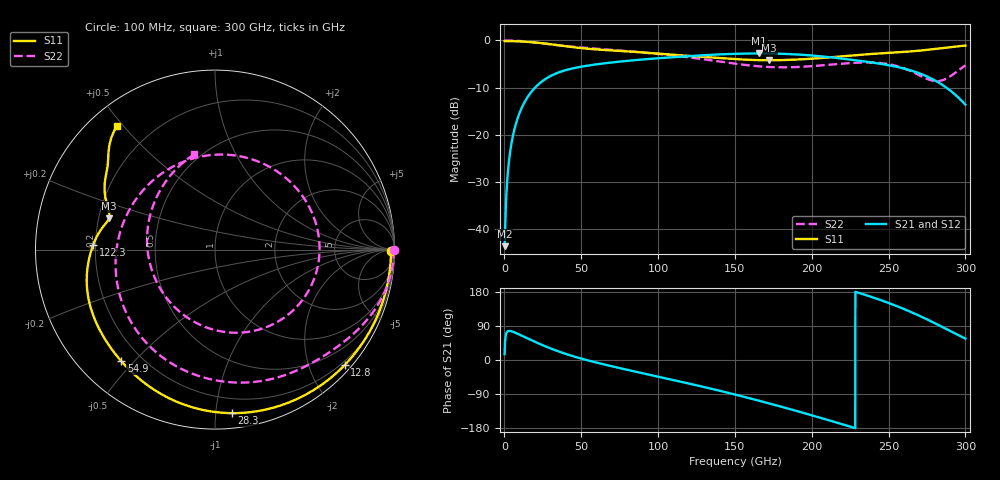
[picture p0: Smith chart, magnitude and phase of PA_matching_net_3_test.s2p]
! Created with skrf (http://scikit-rf.org).
# Hz S RI R 50.0
!freq ReS11 ImS11 ReS21 ImS21 ReS12 ImS12 ReS22 ImS22
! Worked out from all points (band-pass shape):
!   3000 points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, 100 MHz to 300 GHz, reference 50 ohm
!   highest |S21| = -2.78 dB at 165.8 GHz (marker M1); lowest = -43.5 dB at 100 MHz (marker M2)
!   |S21| within 3 dB of the highest: 46.66 GHz to 257.7 GHz (211 GHz wide, 139 % of centre)
!   lowest |S11| = -4.2 dB at 172.2 GHz (marker M3), VSWR 4.20, Z = 12.2 + j6.85 ohm
!   |S11| at or under -10 dB: nowhere
!   |S22| runs from -8.6 to 0.0 dB; largest |S21 - S12| = 0.004
!   S11 on the Smith chart (normalised r, x): 100 MHz: open; 12.8 GHz: 0.13, -2.62; 28.3 GHz: 0.10, -1.10; 54.9 GHz: 0.13, -0.46; 122.3 GHz: 0.19, +0.02; 300 GHz: 0.08, +0.48
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1e8  0.9809 -0.00573  0.00641 0.00176  0.00457 0.00179  0.996 -0.00194
2.2e9  0.9725 -0.1255  0.00962 0.0386  0.00787 0.0391  0.9944 -0.0425
4.1e9  0.9518 -0.2316  0.0175 0.071  0.016 0.072  0.9905 -0.0789
7.6e9  0.8834 -0.4154  0.0435 0.1261  0.0426 0.1276  0.9775 -0.1443
1.28e10  0.7222 -0.6435  0.1044 0.1904  0.1048 0.192  0.9457 -0.2351
2.03e10  0.4194 -0.8486  0.218 0.235  0.2193 0.2354  0.881 -0.3476
2.83e10  0.0933 -0.9111  0.338 0.222  0.3387 0.221  0.7996 -0.4423
5.01e10  -0.4591 -0.6869  0.5254 0.0326  0.5244 0.0336  0.5713 -0.6136
5.49e10  -0.5217 -0.6222  0.5418 -0.0161  0.5413 -0.0146  0.5199 -0.6424
1.001e11  -0.7125 -0.1223  0.4631 -0.4502  0.4642 -0.4494  -0.0593 -0.7137
1.223e11  -0.6794 0.0245  0.2972 -0.6157  0.2987 -0.6162  -0.352 -0.5502
1.501e11  -0.6185 0.1339  -0.0151 -0.7193  -0.0142 -0.7197  -0.5528 -0.1213
1.658e11  -0.5942 0.1651  -0.2192 -0.6918  -0.2182 -0.6925  -0.5014 0.172
1.722e11  -0.5897 0.1753  -0.3004 -0.6594  -0.2993 -0.6602  -0.4383 0.2833
2.001e11  -0.5962 0.2303  -0.5727 -0.3856  -0.571 -0.3872  0.0654 0.5288
2.141e11  -0.6068 0.271  -0.6261 -0.1965  -0.6251 -0.1998  0.345 0.4363
2.292e11  -0.6152 0.3278  -0.6126 0.0108  -0.6139 0.00714  0.5492 0.1837
2.501e11  -0.6071 0.4167  -0.4739 0.2692  -0.4773 0.2673  0.4703 -0.3018
2.663e11  -0.5968 0.4823  -0.2599 0.3914  -0.2637 0.3924  0.032 -0.4555
2.814e11  -0.5916 0.5596  -0.0291 0.3655  -0.0299 0.3678  -0.3511 -0.1165
2.901e11  -0.5794 0.6175  0.0681 0.2864  0.0684 0.2874  -0.3536 0.2192
3e11  -0.5466 0.6872  0.1155 0.1735  0.1147 0.1732  -0.1148 0.5316
